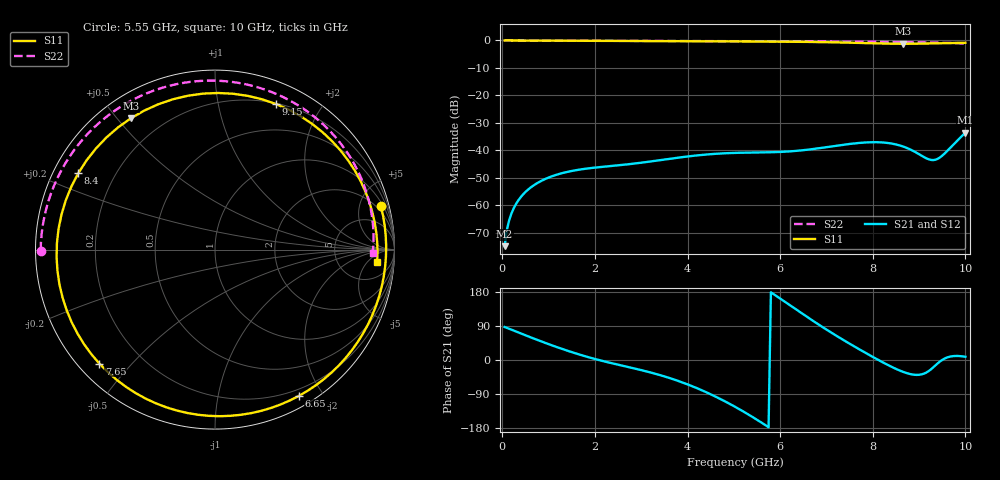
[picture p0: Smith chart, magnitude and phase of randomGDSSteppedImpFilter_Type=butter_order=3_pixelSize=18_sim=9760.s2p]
! freq	dB(S11)	phase(S11)	dB(S12)	phase(S12)
!  dB(S21)	phase(S21)	dB(S22)	phase(S22)
!S-par simulation data
#  GHz  S  DB  R 50
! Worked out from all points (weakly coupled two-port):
!   200 points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, 50 MHz to 10 GHz, reference 50 ohm
!   highest |S21| = -33.55 dB at 10 GHz (marker M1); lowest = -74.9 dB at 50 MHz (marker M2)
!   lowest |S11| = -1.2 dB at 8.65 GHz (marker M3), VSWR 14.25, Z = 4.55 + j27.1 ohm
!   |S11| at or under -10 dB: nowhere
!   |S22| runs from -1.1 to 0.0 dB; largest |S21 - S12| = 0
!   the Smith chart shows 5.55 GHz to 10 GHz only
!   S11 on the Smith chart (normalised r, x): 5.55 GHz: 1.31, +7.44; 6.65 GHz: 0.12, -1.72; 7.65 GHz: 0.06, -0.41; 8.4 GHz: 0.07, +0.26; 9.15 GHz: 0.21, +1.48; 10 GHz: 13, -10
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0.05  -0.00 -3.1  -74.91 87.1  -74.91 87.1  -0.00 -2.0
0.2  -0.01 -12.3  -62.90 79.9  -62.90 79.9  -0.01 -7.8
0.5  -0.04 -30.5  -55.18 65.2  -55.18 65.2  -0.02 -19.3
1.15  -0.09 -69.4  -49.01 35.2  -49.01 35.2  -0.06 -43.8
1.75  -0.13 -104.5  -46.82 11.3  -46.82 11.3  -0.08 -65.3
2.65  -0.19 -156.7  -45.21 -16.6  -45.21 -16.6  -0.11 -95.3
3.4  -0.24 158.4  -43.61 -39.6  -43.61 -39.6  -0.14 -118.4
4.3  -0.30 100.5  -41.70 -79.4  -41.70 -79.4  -0.18 -144.5
5.05  -0.36 49.3  -40.93 -125.1  -40.93 -125.1  -0.22 -165.6
5.55  -0.39 14.9  -40.79 -161.6  -40.79 -161.6  -0.25 -179.7
6.05  -0.44 -19.3  -40.55 158.1  -40.55 158.1  -0.29 165.9
6.65  -0.54 -60.1  -39.67 108.1  -39.67 108.1  -0.34 147.7
6.7  -0.55 -63.6  -39.56 104.1  -39.56 104.1  -0.34 146.1
7.2  -0.69 -99.4  -38.37 65.0  -38.37 65.0  -0.39 129.8
7.65  -0.87 -135.4  -37.41 32.3  -37.41 32.3  -0.44 113.8
8  -1.03 -167.4  -37.05 8.1  -37.05 8.1  -0.49 100.5
8.35  -1.17 156.3  -37.39 -14.6  -37.39 -14.6  -0.54 86.1
8.4  -1.18 150.8  -37.52 -17.7  -37.52 -17.7  -0.55 83.9
8.65  -1.22 122.7  -38.59 -31.1  -38.59 -31.1  -0.59 72.7
9.15  -1.12 67.4  -42.86 -33.5  -42.86 -33.5  -0.71 48.3
9.55  -0.97 29.4  -41.19 3.7  -41.19 3.7  -0.85 26.3
10  -0.85 -4.5  -33.55 8.6  -33.55 8.6  -1.12 -1.4
